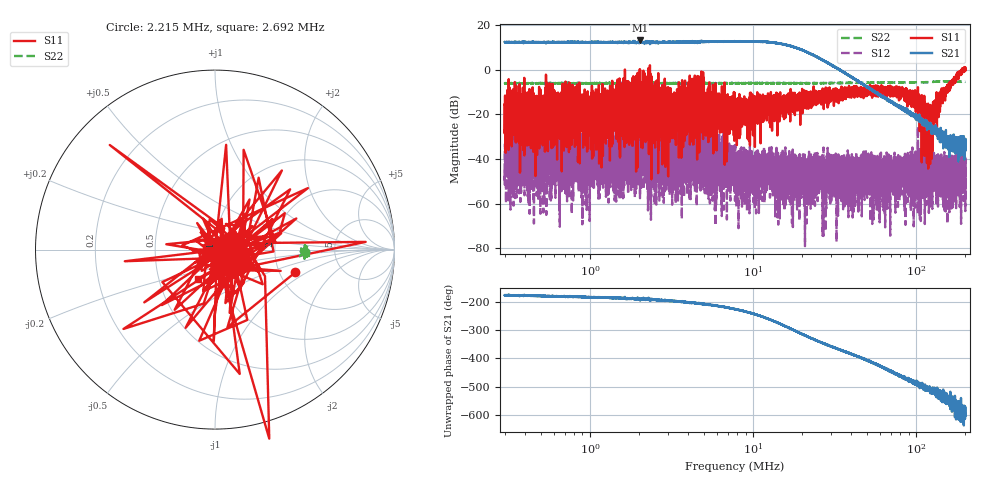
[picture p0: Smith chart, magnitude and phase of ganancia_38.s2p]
# Hz S DB R 50
! CMT, M5065, 19127446, 24.2.4/2
! Date: 11/1/2024 3:35:25 PM
! Data: Format (Calibration Info)
! Freq	S11:dB/Ang(F2)	S21:dB/Ang(F2)	S12:dB/Ang(F2)	S22:dB/Ang(F2)
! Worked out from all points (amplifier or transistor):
!   9000 points, 300 kHz to 200 MHz, reference 50 ohm
!   highest |S21| = 13.1 dB at 2.021 MHz (marker M1)
!   |S21| within 3 dB of that: start of sweep to 17.82 MHz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
!   unconditionally stable (mu >= 1): 2.492 MHz to 4.09 MHz; 4.817 MHz to 190.2 MHz; 191.1 MHz to 192.8 MHz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
!   at 886.8 kHz: K = 16.09, MAG = 13.6 dB, |S12| = -45.1 dB
!   at 7.749 MHz: K = 72.56, MAG = 14.1 dB, |S12| = -58.7 dB
!   at 200 MHz: K = 219.75, MAG = -13.2 dB, |S12| = -57.6 dB
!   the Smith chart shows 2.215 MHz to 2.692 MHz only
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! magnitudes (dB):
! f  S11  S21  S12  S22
! 300 kHz  -27.1  12.4  -45.7  -6.0
! 310.8 kHz  -21.7  12.4  -37.2  -6.0
! 346.4 kHz  -15.4  12.5  -51.0  -6.1
! 465.5 kHz  -20.4  12.4  -39.2  -6.0
! 886.8 kHz  -16.5  12.3  -45.1  -6.0
! 1.188 MHz  -13.8  12.3  -36.8  -6.1
! 1.422 MHz  -14.6  12.3  -41.1  -6.1
! 2.021 MHz  0.3  13.1  -21.9  -5.5
! 2.621 MHz  -16.5  12.2  -38.4  -6.0
! 3.258 MHz  -23.1  12.4  -45.8  -6.0
! 4.288 MHz  -19.0  12.4  -39.1  -6.1
! 7.749 MHz  -16.4  12.8  -58.7  -6.0
! 10.1 MHz  -17.8  12.6  -53.5  -6.0
! 12.8 MHz  -12.9  12.4  -37.6  -6.1
! 14.21 MHz  -15.1  11.8  -37.2  -6.0
! 22.91 MHz  -13.4  6.9  -45.1  -6.0
! 67.71 MHz  -9.2  -13.7  -44.1  -5.7
! 99.37 MHz  -18.9  -20.4  -43.3  -5.6
! 122.1 MHz  -37.6  -23.8  -49.9  -5.5
! 144.8 MHz  -9.9  -29.6  -38.8  -5.3
! 193 MHz  0.6  -33.6  -44.8  -5.4
! 200 MHz  -0.1  -31.1  -57.6  -5.4
